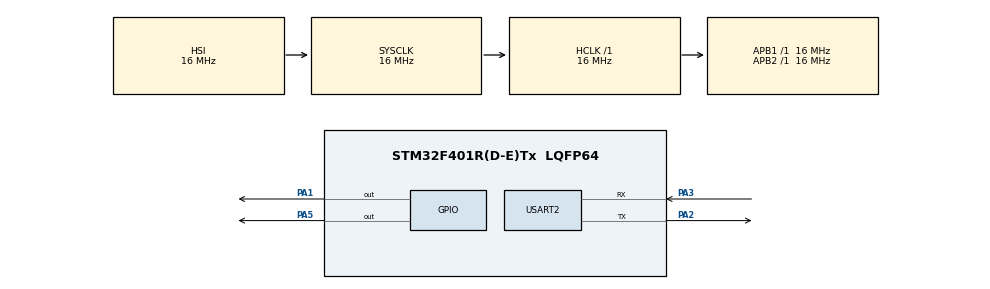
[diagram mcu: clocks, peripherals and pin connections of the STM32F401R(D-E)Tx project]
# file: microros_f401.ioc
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Dma.Request0=USART2_RX
Dma.Request1=USART2_TX
Dma.USART2_RX.0.Direction=DMA_PERIPH_TO_MEMORY
Dma.USART2_RX.0.FIFOMode=DMA_FIFOMODE_DISABLE
Dma.USART2_RX.0.Instance=DMA1_Stream5
Dma.USART2_RX.0.MemDataAlignment=DMA_MDATAALIGN_BYTE
Dma.USART2_RX.0.MemInc=DMA_MINC_ENABLE
Dma.USART2_RX.0.Mode=DMA_CIRCULAR
Dma.USART2_RX.0.PeriphDataAlignment=DMA_PDATAALIGN_BYTE
Dma.USART2_RX.0.PeriphInc=DMA_PINC_DISABLE
Dma.USART2_RX.0.Priority=DMA_PRIORITY_VERY_HIGH
Dma.USART2_TX.1.Direction=DMA_MEMORY_TO_PERIPH
Dma.USART2_TX.1.FIFOMode=DMA_FIFOMODE_DISABLE
Dma.USART2_TX.1.Instance=DMA1_Stream6
Dma.USART2_TX.1.MemDataAlignment=DMA_MDATAALIGN_BYTE
Dma.USART2_TX.1.MemInc=DMA_MINC_ENABLE
Dma.USART2_TX.1.Mode=DMA_NORMAL
Dma.USART2_TX.1.PeriphDataAlignment=DMA_PDATAALIGN_BYTE
Dma.USART2_TX.1.PeriphInc=DMA_PINC_DISABLE
Dma.USART2_TX.1.Priority=DMA_PRIORITY_VERY_HIGH
FREERTOS.Tasks01=defaultTask,0,128,StartDefaultTask,Default,NULL,Dynamic,NULL,NULL
FREERTOS.configTOTAL_HEAP_SIZE=28000
Mcu.Family=STM32F4
Mcu.Name=STM32F401R(D-E)Tx
Mcu.Package=LQFP64
NVIC.DMA1_Stream5_IRQn=true\:5\:0\:false\:false\:true\:true\:false\:true\:true
NVIC.DMA1_Stream6_IRQn=true\:5\:0\:false\:false\:true\:true\:false\:true\:true
NVIC.PriorityGroup=NVIC_PRIORITYGROUP_4
NVIC.USART2_IRQn=true\:5\:0\:false\:false\:true\:true\:true\:true\:true
PA1.Signal=GPIO_Output
PA13.Mode=Serial_Wire
PA13.Signal=SYS_JTMS-SWDIO
PA14.Mode=Serial_Wire
PA14.Signal=SYS_JTCK-SWCLK
PA2.Mode=Asynchronous
PA2.Signal=USART2_TX
PA3.Mode=Asynchronous
PA3.Signal=USART2_RX
PA5.Signal=GPIO_Output
ProjectManager.HeapSize=0x200
ProjectManager.StackSize=0x400
ProjectManager.TargetToolchain=STM32CubeIDE
RCC.AHBFreq_Value=16000000
RCC.APB1Freq_Value=16000000
RCC.APB2Freq_Value=16000000
RCC.CortexFreq_Value=16000000
RCC.HSE_VALUE=25000000
RCC.HSI_VALUE=16000000
RCC.LSE_VALUE=32768
RCC.SYSCLKFreq_VALUE=16000000
RCC.VCOOutputFreq_Value=192000000
USART2.VirtualMode=VM_ASYNC
VP_FREERTOS_VS_CMSIS_V1.Mode=CMSIS_V1
VP_TIM2_VS_ClockSourceINT.Mode=Internal
board=custom

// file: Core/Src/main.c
/* USER CODE BEGIN Header */
/**
  ******************************************************************************
  * @file           : main.c
  * @brief          : Main program body
  ******************************************************************************
  * @attention
  *
  * Copyright (c) 2026 STMicroelectronics.
  * All rights reserved.
  *
  * This software is licensed under terms that can be found in the LICENSE file
  * in the root directory of this software component.
  * If no LICENSE file comes with this software, it is provided AS-IS.
  *
  ******************************************************************************
  */
/* USER CODE END Header */
#include "main.h"
#include "cmsis_os.h"

/* USER CODE BEGIN Includes */
#include <rcl/rcl.h>
#include <rcl/error_handling.h>
#include <rclc/rclc.h>
#include <rclc/executor.h>
#include <std_msgs/msg/int32.h>
#include <rmw_microros/rmw_microros.h>
/* USER CODE END Includes */

TIM_HandleTypeDef htim2;

UART_HandleTypeDef huart2;
DMA_HandleTypeDef hdma_usart2_rx;
DMA_HandleTypeDef hdma_usart2_tx;

osThreadId defaultTaskHandle;
/* USER CODE BEGIN PV */
rcl_publisher_t publisher;
std_msgs__msg__Int32 msg;
rclc_support_t support;
rcl_allocator_t allocator;
rcl_node_t node;
rclc_executor_t executor;
/* USER CODE END PV */

void SystemClock_Config(void);
static void MX_GPIO_Init(void);
static void MX_DMA_Init(void);
static void MX_USART2_UART_Init(void);
static void MX_TIM2_Init(void);
void StartDefaultTask(void const * argument);

/* USER CODE BEGIN PFP */
// Declare transport functions
bool cubemx_transport_open(struct uxrCustomTransport * transport);
bool cubemx_transport_close(struct uxrCustomTransport * transport);
size_t cubemx_transport_write(struct uxrCustomTransport* transport, const uint8_t * buf, size_t len, uint8_t * err);
size_t cubemx_transport_read(struct uxrCustomTransport* transport, uint8_t* buf, size_t len, int timeout, uint8_t* err);

// Declare allocator functions
void * microros_allocate(size_t size, void * state);
void microros_deallocate(void * pointer, void * state);
void * microros_reallocate(void * pointer, size_t size, void * state);
void * microros_zero_allocate(size_t number_of_elements, size_t size_of_element, void * state);
/* USER CODE END PFP */

/* USER CODE BEGIN 0 */
#define RCCHECK(fn) { rcl_ret_t temp_rc = fn; if((temp_rc != RCL_RET_OK)){Error_Handler();}}
#define RCSOFTCHECK(fn) { rcl_ret_t temp_rc = fn; (void)temp_rc; }
/* USER CODE END 0 */

int main(void)
{

  /* MCU Configuration--------------------------------------------------------*/

  /* Reset of all peripherals, Initializes the Flash interface and the Systick. */
  HAL_Init();

  /* Configure the system clock */
  SystemClock_Config();

  /* Initialize all configured peripherals */
  MX_GPIO_Init();
  MX_DMA_Init();
  MX_USART2_UART_Init();
  MX_TIM2_Init();

  /* Create the thread(s) */
  /* definition and creation of defaultTask */
  osThreadDef(defaultTask, StartDefaultTask, osPriorityNormal, 0, 2000);
  defaultTaskHandle = osThreadCreate(osThread(defaultTask), NULL);

  /* Start scheduler */
  osKernelStart();

  /* We should never get here as control is now taken by the scheduler */

  /* Infinite loop */
  while (1)
  {

  }
}

void SystemClock_Config(void)
{
  RCC_OscInitTypeDef RCC_OscInitStruct = {0};
  RCC_ClkInitTypeDef RCC_ClkInitStruct = {0};

  /** Configure the main internal regulator output voltage
  */
  __HAL_RCC_PWR_CLK_ENABLE();
  __HAL_PWR_VOLTAGESCALING_CONFIG(PWR_REGULATOR_VOLTAGE_SCALE2);

  /** Initializes the RCC Oscillators according to the specified parameters
  * in the RCC_OscInitTypeDef structure.
  */
  RCC_OscInitStruct.OscillatorType = RCC_OSCILLATORTYPE_HSI;
  RCC_OscInitStruct.HSIState = RCC_HSI_ON;
  RCC_OscInitStruct.HSICalibrationValue = RCC_HSICALIBRATION_DEFAULT;
  RCC_OscInitStruct.PLL.PLLState = RCC_PLL_NONE;
  if (HAL_RCC_OscConfig(&RCC_OscInitStruct) != HAL_OK)
  {
    Error_Handler();
  }

  /** Initializes the CPU, AHB and APB buses clocks
  */
  RCC_ClkInitStruct.ClockType = RCC_CLOCKTYPE_HCLK|RCC_CLOCKTYPE_SYSCLK
                              |RCC_CLOCKTYPE_PCLK1|RCC_CLOCKTYPE_PCLK2;
  RCC_ClkInitStruct.SYSCLKSource = RCC_SYSCLKSOURCE_HSI;
  RCC_ClkInitStruct.AHBCLKDivider = RCC_SYSCLK_DIV1;
  RCC_ClkInitStruct.APB1CLKDivider = RCC_HCLK_DIV1;
  RCC_ClkInitStruct.APB2CLKDivider = RCC_HCLK_DIV1;

  if (HAL_RCC_ClockConfig(&RCC_ClkInitStruct, FLASH_LATENCY_0) != HAL_OK)
  {
    Error_Handler();
  }
}

static void MX_TIM2_Init(void)
{

  TIM_ClockConfigTypeDef sClockSourceConfig = {0};
  TIM_MasterConfigTypeDef sMasterConfig = {0};

  htim2.Instance = TIM2;
  htim2.Init.Prescaler = 0;
  htim2.Init.CounterMode = TIM_COUNTERMODE_UP;
  htim2.Init.Period = 4294967295;
  htim2.Init.ClockDivision = TIM_CLOCKDIVISION_DIV1;
  htim2.Init.AutoReloadPreload = TIM_AUTORELOAD_PRELOAD_DISABLE;
  if (HAL_TIM_Base_Init(&htim2) != HAL_OK)
  {
    Error_Handler();
  }
  sClockSourceConfig.ClockSource = TIM_CLOCKSOURCE_INTERNAL;
  if (HAL_TIM_ConfigClockSource(&htim2, &sClockSourceConfig) != HAL_OK)
  {
    Error_Handler();
  }
  sMasterConfig.MasterOutputTrigger = TIM_TRGO_RESET;
  sMasterConfig.MasterSlaveMode = TIM_MASTERSLAVEMODE_DISABLE;
  if (HAL_TIMEx_MasterConfigSynchronization(&htim2, &sMasterConfig) != HAL_OK)
  {
    Error_Handler();
  }

}

static void MX_USART2_UART_Init(void)
{

  huart2.Instance = USART2;
  huart2.Init.BaudRate = 115200;
  huart2.Init.WordLength = UART_WORDLENGTH_8B;
  huart2.Init.StopBits = UART_STOPBITS_1;
  huart2.Init.Parity = UART_PARITY_NONE;
  huart2.Init.Mode = UART_MODE_TX_RX;
  huart2.Init.HwFlowCtl = UART_HWCONTROL_NONE;
  huart2.Init.OverSampling = UART_OVERSAMPLING_16;
  if (HAL_UART_Init(&huart2) != HAL_OK)
  {
    Error_Handler();
  }

}

static void MX_DMA_Init(void)
{

  /* DMA controller clock enable */
  __HAL_RCC_DMA1_CLK_ENABLE();

  /* DMA interrupt init */
  /* DMA1_Stream5_IRQn interrupt configuration */
  HAL_NVIC_SetPriority(DMA1_Stream5_IRQn, 5, 0);
  HAL_NVIC_EnableIRQ(DMA1_Stream5_IRQn);
  /* DMA1_Stream6_IRQn interrupt configuration */
  HAL_NVIC_SetPriority(DMA1_Stream6_IRQn, 5, 0);
  HAL_NVIC_EnableIRQ(DMA1_Stream6_IRQn);

}

static void MX_GPIO_Init(void)
{
  GPIO_InitTypeDef GPIO_InitStruct = {0};

  /* GPIO Ports Clock Enable */
  __HAL_RCC_GPIOA_CLK_ENABLE();

  /*Configure GPIO pin Output Level */
  HAL_GPIO_WritePin(GPIOA, GPIO_PIN_1|GPIO_PIN_5, GPIO_PIN_RESET);

  /*Configure GPIO pins : PA1 PA5 */
  GPIO_InitStruct.Pin = GPIO_PIN_1|GPIO_PIN_5;
  GPIO_InitStruct.Mode = GPIO_MODE_OUTPUT_PP;
  GPIO_InitStruct.Pull = GPIO_NOPULL;
  GPIO_InitStruct.Speed = GPIO_SPEED_FREQ_LOW;
  HAL_GPIO_Init(GPIOA, &GPIO_InitStruct);

}

void StartDefaultTask(void const * argument)
{
  /* USER CODE BEGIN 5 */

  // HEARTBEAT: If the board is alive, the LED will blink immediately
  for(int i=0; i<10; i++) {
      HAL_GPIO_TogglePin(GPIOA, GPIO_PIN_5);
      HAL_Delay(100);
  }

  rmw_uros_set_custom_transport(
    true, (void *) &huart2,
    cubemx_transport_open, cubemx_transport_close,
    cubemx_transport_write, cubemx_transport_read
  );

  allocator = rcutils_get_zero_initialized_allocator();
  allocator.allocate = microros_allocate;
  allocator.deallocate = microros_deallocate;
  allocator.reallocate = microros_reallocate;
  allocator.zero_allocate = microros_zero_allocate;
  rcutils_set_default_allocator(&allocator);

  // If the agent is not running, the code will STOP here
  if (rclc_support_init(&support, 0, NULL, &allocator) != RCL_RET_OK) {
      Error_Handler();
  }

  rclc_node_init_default(&node, "stm32_node", "", &support);
  rclc_publisher_init_default(&publisher, &node,
      ROSIDL_GET_MSG_TYPE_SUPPORT(std_msgs, msg, Int32), "stm32_publisher");

  msg.data = 0;

  for(;;)
  {
    if (rcl_publish(&publisher, &msg, NULL) == RCL_RET_OK) {
        msg.data++;
    }
    HAL_GPIO_TogglePin(GPIOA, GPIO_PIN_5); // Toggle every second
    osDelay(1000);
  }
  /* USER CODE END 5 */
}

void Error_Handler(void)
{
  /* USER CODE BEGIN Error_Handler_Debug */
  while (1)
  {
      // If the code crashes, the LED will blink very fast
      HAL_GPIO_TogglePin(GPIOA, GPIO_PIN_5);
      HAL_Delay(50);
  }
  /* USER CODE END Error_Handler_Debug */
}
